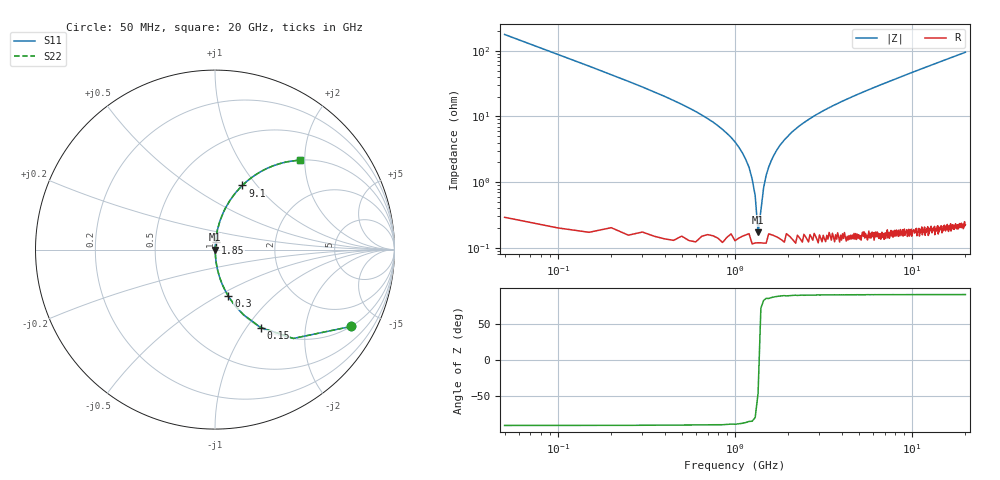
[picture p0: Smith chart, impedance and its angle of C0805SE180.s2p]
! AVX Thin Film Operation		Date: April 2012
! Description: Accu-P® Series, Thin Film, SMD, RF Capacitor
! Part Number: 08055J180FBTTR
!	50	MHz	-	20.05	GHz
!	Serial	Measurements
#	MHZ	S	MA	R	50
!	S11	S21	S12	S22
!	dB	Phase	dB	Phase	dB	Phase	dB	Phase
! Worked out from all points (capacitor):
!   400 points, 50 MHz to 20 GHz, reference 50 ohm
!   read as one part in series: C = 18 pF near 150 MHz
!   lowest |Z| = 171 mohm at 1.35 GHz (marker M1)
!   series resonance near 1.363 GHz, so ESL is about 760 pH
!   S11 on the Smith chart (normalised r, x): 50 MHz: 1.00, -3.53; 150 MHz: 1.00, -1.17; 300 MHz: 1.00, -0.56; 1.85 GHz: 1.00, +0.08; 9.1 GHz: 1.00, +0.85; 20 GHz: 1.00, +1.90
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50  0.87 -29.5  0.492 60.4  0.492 60.4  0.87 -29.5
100  0.66 -48.6  0.75 41.3  0.75 41.3  0.66 -48.6
150  0.503 -59.6  0.863 30.2  0.863 30.2  0.503 -59.6
300  0.27 -74.0  0.961 15.6  0.961 15.6  0.27 -74.0
600  0.118 -82.5  0.992 6.8  0.992 6.8  0.118 -82.5
1100  0.028 -85.6  0.998 1.6  0.998 1.6  0.028 -85.6
1200  0.017 -84.3  0.998 0.9  0.998 0.9  0.017 -84.3
1250  0.011 -82.3  0.999 0.6  0.999 0.6  0.011 -82.3
1300  0.006276 -76.9  0.999 0.4  0.999 0.4  0.006276 -76.9
1350  0.001853 -41.5  0.999 0.1  0.999 0.1  0.001853 -41.5
1450  0.008154 79.7  0.999 -0.5  0.999 -0.5  0.008154 79.7
1500  0.013 82.9  0.999 -0.7  0.999 -0.7  0.013 82.9
1650  0.025 85.4  0.998 -1.4  0.998 -1.4  0.025 85.4
1850  0.04 85.7  0.998 -2.3  0.998 -2.3  0.04 85.7
2400  0.077 84.5  0.996 -4.4  0.996 -4.4  0.077 84.5
3400  0.134 81.7  0.989 -7.7  0.989 -7.7  0.134 81.7
6700  0.292 72.7  0.955 -17.0  0.955 -17.0  0.292 72.7
9100  0.389 66.9  0.92 -22.9  0.92 -22.9  0.389 66.9
10050  0.424 64.7  0.904 -25.1  0.904 -25.1  0.424 64.7
13350  0.532 57.7  0.845 -32.1  0.845 -32.1  0.532 57.7
16700  0.619 51.6  0.784 -38.2  0.784 -38.2  0.619 51.6
20000  0.687 46.5  0.725 -43.4  0.725 -43.4  0.687 46.5
